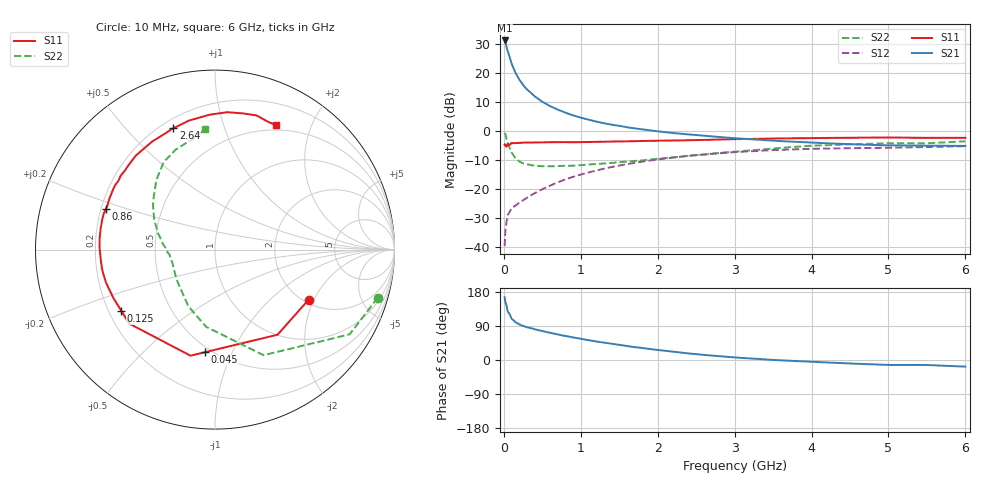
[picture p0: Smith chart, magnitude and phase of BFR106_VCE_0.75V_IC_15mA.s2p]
! Infineon Technologies  Discrete & RF Semiconductors
! BFR106
! VCE = 0.75 V,  IC =  15 mA
! Common Emitter S-Parameters:  Nov 2015
# GHz  S  MA  R  50
!  f  S11  S21  S12  S22
! GHz  MAG  ANG  MAG  ANG  MAG  ANG  MAG  ANG
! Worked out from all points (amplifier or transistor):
!   210 points, 10 MHz to 6 GHz, reference 50 ohm
!   highest |S21| = 31.4 dB at 10 MHz (marker M1)
!   |S21| within 3 dB of that: start of sweep to 42.29 MHz
!   unconditionally stable (mu >= 1): 378.5 MHz to end of sweep
!   at 185 MHz: K = 0.72, MSG = 21.8 dB, |S12| = -25.0 dB
!   at 1.52 GHz: K = 1.10, MAG = 4.9 dB, |S12| = -11.7 dB
!   at 6 GHz: K = 1.03, MAG = -1.0 dB, |S12| = -5.1 dB
!   S11 on the Smith chart (normalised r, x): 10 MHz: 2.12, -1.82; 45 MHz: 0.46, -0.79; 125 MHz: 0.25, -0.28; 860 MHz: 0.22, +0.17; 2.64 GHz: 0.25, +0.68; 6 GHz: 0.44, +1.51
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0.01  0.5914 -28.2  37.08 165.5  0.0104 79.9  0.9458 -16.5
0.02  0.5885 -53.7  34.36 153.4  0.0195 68.9  0.8861 -32.2
0.045  0.5744 -95.6  25.47 133.5  0.0327 52.3  0.6683 -58.4
0.05  0.6067 -103.0  24.21 128.0  0.0355 50.5  0.6476 -65.3
0.1  0.6312 -139.2  14.75 109.0  0.0463 42.1  0.4333 -96.5
0.125  0.6235 -146.9  12.45 105.2  0.0492 42.6  0.386 -104.8
0.15  0.6273 -154.7  10.23 99.7  0.0521 43.0  0.349 -115.2
0.2  0.6346 -163.2  7.848 94.0  0.0583 45.6  0.3027 -126.6
0.26  0.6383 -170.4  6.102 89.1  0.0658 48.8  0.2777 -137.8
0.3  0.6389 -173.7  5.293 86.5  0.0709 51.0  0.2697 -142.8
0.4  0.643 179.3  4.023 81.0  0.0854 54.5  0.2558 -152.5
0.5  0.6459 174.3  3.24 76.2  0.1 56.7  0.2495 -159.1
0.7  0.6506 165.4  2.372 67.0  0.1314 58.2  0.2522 -167.0
0.86  0.6486 159.7  1.967 61.2  0.1573 57.9  0.2544 -172.3
1.02  0.6537 153.7  1.692 55.3  0.1826 56.8  0.2616 -175.9
1.4  0.6677 141.9  1.301 43.0  0.2417 52.6  0.285 175.5
2.02  0.6886 124.7  0.993 26.0  0.3298 43.4  0.3379 162.2
2.64  0.7143 109.0  0.828 12.8  0.4029 33.1  0.4023 148.2
3.1  0.7354 99.6  0.746 5.4  0.4446 25.6  0.4559 138.1
4.1  0.769 83.6  0.63 -5.6  0.5012 10.5  0.5707 118.5
5.1  0.7799 71.8  0.571 -13.0  0.5235 -1.2  0.6213 103.3
6  0.7717 63.8  0.56 -17.5  0.5538 -9.7  0.6724 94.8
